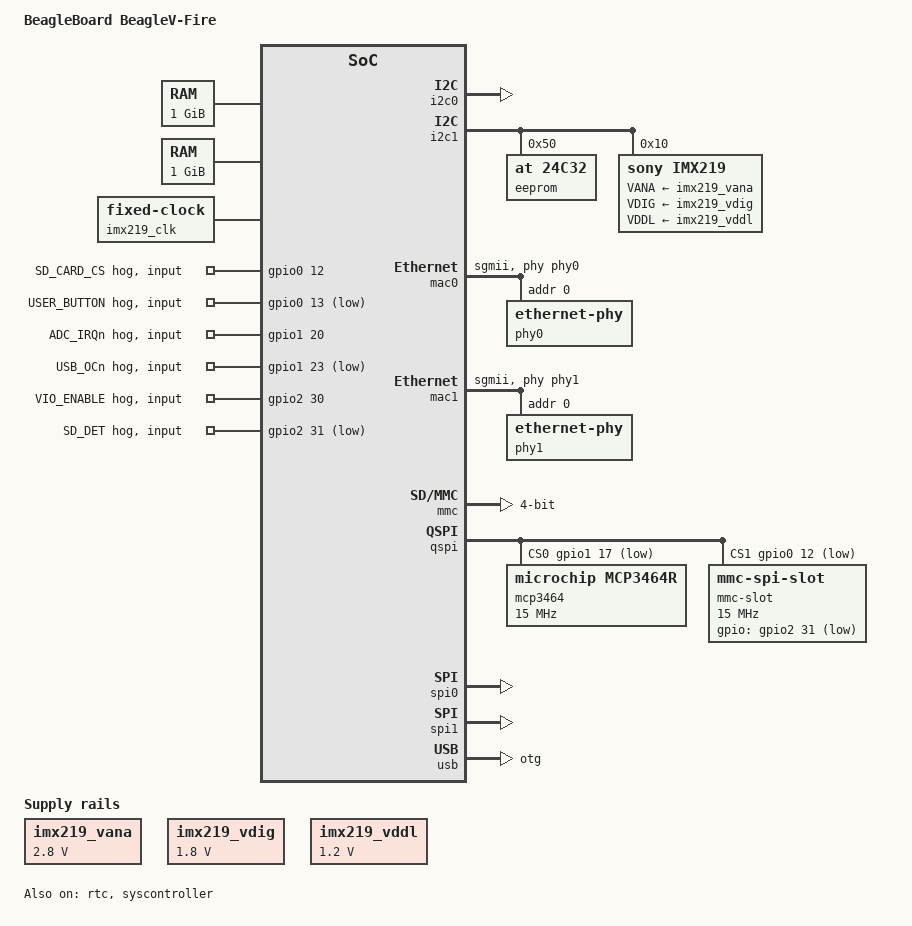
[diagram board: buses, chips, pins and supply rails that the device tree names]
// SPDX-License-Identifier: (GPL-2.0 OR MIT)
/* Copyright (c) 2020-2021 Microchip Technology Inc */

/dts-v1/;

#include "mpfs.dtsi"
#include "mpfs-beaglev-fire-fabric.dtsi"
#include <dt-bindings/gpio/gpio.h>
#include <dt-bindings/leds/common.h>

/* Clock frequency (in Hz) of the rtcclk */
#define RTCCLK_FREQ		1000000

/ {
	#address-cells = <2>;
	#size-cells = <2>;
	model = "BeagleBoard BeagleV-Fire";
	compatible = "microchip,mpfs-icicle-reference-rtlv2210", "microchip,mpfs";

	aliases {
		mmc0 = &mmc;
		ethernet0 = &mac1;
		serial0 = &mmuart0;
		serial1 = &mmuart1;
		serial2 = &mmuart2;
		serial3 = &mmuart3;
		serial4 = &mmuart4;
	};

	chosen {
		stdout-path = "serial0:115200n8";
	};

	cpus {
		timebase-frequency = <RTCCLK_FREQ>;
	};

	ddrc_cache_lo: memory@80000000 {
		device_type = "memory";
		reg = <0x0 0x80000000 0x0 0x40000000>;
		status = "okay";
	};

	ddrc_cache_hi: memory@1040000000 {
		device_type = "memory";
		reg = <0x10 0x40000000 0x0 0x40000000>;
		status = "okay";
	};

	reserved-memory {
		#address-cells = <2>;
		#size-cells = <2>;
		ranges;

		hss_payload: region@BFC00000 {
			reg = <0x0 0xBFC00000 0x0 0x400000>;
			no-map;
		};
	};

	imx219_vana: fixedregulator@0 {
		compatible = "regulator-fixed";
		regulator-name = "imx219_vana";
		regulator-min-microvolt = <2800000>;
		regulator-max-microvolt = <2800000>;
	};
	imx219_vdig: fixedregulator@1 {
		compatible = "regulator-fixed";
		regulator-name = "imx219_vdig";
		regulator-min-microvolt = <1800000>;
		regulator-max-microvolt = <1800000>;
	};
	imx219_vddl: fixedregulator@2 {
		compatible = "regulator-fixed";
		regulator-name = "imx219_vddl";
		regulator-min-microvolt = <1200000>;
		regulator-max-microvolt = <1200000>;
	};

	imx219_clk: camera-clk {
		compatible = "fixed-clock";
		#clock-cells = <0>;
		clock-frequency = <24000000>;
	};
};

&gpio0 {
	ngpios=<14>;
	gpio-line-names = "", "", "", "", "", "", "", "", "", "", "", "", "SD_CARD_CS", "USER_BUTTON";
	status = "okay";

	sd_card_cs {
		gpio-hog;
		gpios = <12 12>;
		output_high;
		line-name = "SD_CARD_CS";
	};

	user_button {
		gpio-hog;
		gpios = <13 13>;
		input;
		line-name = "USER_BUTTON";
	};
};

&gpio1 {
	ngpios=<24>;
	gpio-line-names = "", "", "", "", "", "", "", "", "", "", 
					  "", "", "", "", "", "", "", "", "", "",
					  "ADC_IRQn", "", "", "USB_OCn";
	status = "okay";

	adc_irqn {
		gpio-hog;
		gpios = <20 20>;
		input;
		line-name = "ADC_IRQn";
	};

	user_button {
		gpio-hog;
		gpios = <23 23>;
		input;
		line-name = "USB_OCn";
	};

};

&gpio2 {
	interrupts = <53>, <53>, <53>, <53>,
		     <53>, <53>, <53>, <53>,
		     <53>, <53>, <53>, <53>,
		     <53>, <53>, <53>, <53>,
		     <53>, <53>, <53>, <53>,
		     <53>, <53>, <53>, <53>,
		     <53>, <53>, <53>, <53>,
		     <53>, <53>, <53>, <53>;
	gpio-line-names = "P8_PIN3_USER_LED_0", "P8_PIN4_USER_LED_1", "P8_PIN5_USER_LED_2",
					"P8_PIN6_USER_LED_3", "P8_PIN7_USER_LED_4", "P8_PIN8_USER_LED_5",
					"P8_PIN9_USER_LED_6", "P8_PIN10_USER_LED_7", "P8_PIN11_USER_LED_8",
					"P8_PIN12_USER_LED_9", "P8_PIN13_USER_LED_10", "P8_PIN14_USER_LED_11",
					"P8_PIN15", "P8_PIN16", "P8_PIN17", "P8_PIN18", "P8_PIN19",
					"P8_PIN20", "P8_PIN21", "P8_PIN22",	"P8_PIN23", "P8_PIN24",
					"P8_PIN25", "P8_PIN26", "P8_PIN27", "P8_PIN28", "P8_PIN29",
					"P8_PIN30",
					"M2_W_DISABLE1", "M2_W_DISABLE2",
					"VIO_ENABLE", "SD_DET";
	status = "okay";

	vio_enable {
		gpio-hog;
		gpios = <30 30>;
		output_high;
		line-name = "VIO_ENABLE";
	};

	sd_det {
		gpio-hog;
		gpios = <31 31>;
		input;
		line-name = "SD_DET";
	};
};

&i2c0 {
	status = "okay";
};

&i2c1 {
	status = "okay";
	eeprom: eeprom@50 {
		compatible = "at,24c32";
		reg = <0x50>;
	};

	imx219: sensor@10 {
		compatible = "sony,imx219";
		reg = <0x10>;
		clocks = <&imx219_clk>;
		VANA-supply = <&imx219_vana>;   /* 2.8v */
		VDIG-supply = <&imx219_vdig>;   /* 1.8v */
		VDDL-supply = <&imx219_vddl>;   /* 1.2v */

		port {
			imx219_0: endpoint {
//				remote-endpoint = <&csi1_ep>;
				data-lanes = <1 2>;
				clock-noncontinuous;
				link-frequencies = /bits/ 64 <456000000>;
			};
		};
	};
};

&mac0 {
	phy-mode = "sgmii";
	phy-handle = <&phy0>;
	status = "okay";

	phy0: ethernet-phy@0 {
		reg = <0>;
	};
};

&mac1 {
	phy-mode = "sgmii";
	phy-handle = <&phy1>;
	status = "okay";

	phy1: ethernet-phy@0 {
		reg = <0>;
	};
};

&mbox {
	status = "okay";
};

//&mmc {
//	status = "okay";
//	bus-width = <8>;
//	disable-wp;
//	cap-mmc-highspeed;
//	mmc-ddr-1_8v;
//	mmc-hs200-1_8v;
//};

&mmc {
	//dma-noncoherent;
	bus-width = <4>;
	disable-wp;
	cap-sd-highspeed;
	cap-mmc-highspeed;
	mmc-ddr-1_8v;
	mmc-hs200-1_8v;
	sd-uhs-sdr12;
	sd-uhs-sdr25;
	sd-uhs-sdr50;
	sd-uhs-sdr104;
	status = "okay";
};


&mmuart0 {
	status = "okay";
};

&mmuart1 {
	status = "okay";
};

//&mmuart2 {
//	status = "okay";
//};

//&mmuart3 //{
//	statu//s = "okay";
//};//
//
//&mmuart4 {
//	status = "okay";
//};

//&pcie {
//	status = "okay";
//};

&qspi {
	status = "okay";
	cs-gpios = <&gpio1 17 GPIO_ACTIVE_LOW>, <&gpio0 12 GPIO_ACTIVE_LOW>;
	num-cs = <2>;


	mcp3464: mcp3464@0 {
			compatible = "microchip,mcp3464r";
			reg = <0>; /* CE0 */
			spi-cpol;
			spi-cpha;
			spi-max-frequency = <15000000>;
			status = "okay";
			microchip,hw-device-address = <1>;
	};

	mmc-slot@1 {
		compatible = "mmc-spi-slot";
		reg = <1>;
		gpios = <&gpio2 31 1>;
		voltage-ranges = <3300 3300>;
		spi-max-frequency = <15000000>;
		disable-wp;
	};
};

&refclk {
	clock-frequency = <125000000>;
};

&refclk_ccc {
	clock-frequency = <50000000>;
};

&rtc {
	status = "okay";
};

&spi0 {
	status = "okay";
};

&spi1 {
	status = "okay";
};

&syscontroller {
	status = "okay";
};

&usb {
	//dma-noncoherent;
	status = "okay";
	dr_mode = "otg";
};
